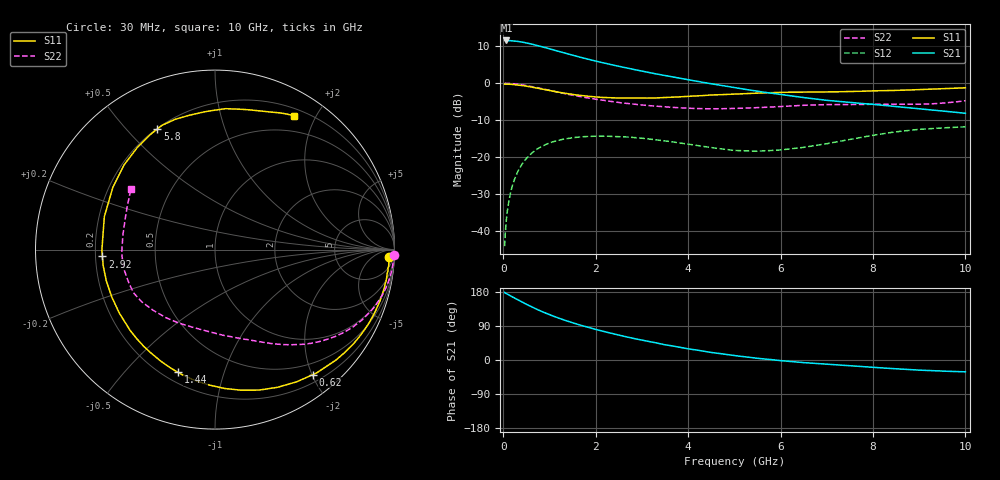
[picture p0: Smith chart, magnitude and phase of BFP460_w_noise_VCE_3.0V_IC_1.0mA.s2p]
! (c) 2016  Infineon Technologies AG, Munich
! Infineon Technologies  Discrete & RF Semiconductors
! BFP460
! VCE =  3.0 V,  IC =  1.0 mA
! Common Emitter S-Parameters:  Jan 2016
# GHz  S  MA  R  50
!  f  S11  S21  S12  S22
! GHz  MAG  ANG  MAG  ANG  MAG  ANG  MAG  ANG
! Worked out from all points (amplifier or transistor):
!   229 points, 30 MHz to 10 GHz, reference 50 ohm
!   highest |S21| = 11.6 dB at 70 MHz (marker M1)
!   |S21| within 3 dB of that: start of sweep to 1.211 GHz
!   unconditionally stable (mu >= 1): 3.58 GHz to end of sweep
!   at 280 MHz: K = 0.08, MSG = 18.2 dB, |S12| = -24.9 dB
!   at 1.78 GHz: K = 0.48, MSG = 10.6 dB, |S12| = -14.5 dB
!   at 10 GHz: K = 1.19, MAG = -0.8 dB, |S12| = -11.8 dB
!   lowest NFmin = 0.69 dB at 450 MHz
!   S11 on the Smith chart (normalised r, x): 30 MHz: 21, -31; 620 MHz: 0.31, -2.01; 1.44 GHz: 0.26, -0.71; 2.92 GHz: 0.23, -0.03; 5.8 GHz: 0.20, +0.61; 10 GHz: 0.29, +1.71
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0.03  0.9707 -2.5  3.783 178.2  0.0062 87.8  0.9983 -1.6
0.045  0.971 -3.8  3.763 176.7  0.0094 87.1  0.9975 -2.1
0.07  0.9688 -6.3  3.793 174.8  0.0146 85.9  0.997 -3.2
0.145  0.9673 -12.7  3.772 170.1  0.0299 81.5  0.9917 -6.7
0.26  0.9549 -22.6  3.721 162.5  0.0528 75.1  0.9783 -11.9
0.44  0.9241 -37.7  3.574 150.8  0.0856 65.4  0.9444 -19.6
0.62  0.8842 -52.0  3.381 139.9  0.1132 56.4  0.901 -26.5
0.8  0.8429 -65.5  3.165 129.7  0.1358 48.3  0.853 -32.8
1  0.7967 -79.5  2.929 119.7  0.155 40.4  0.7998 -38.7
1.2  0.7554 -92.4  2.697 110.5  0.1691 33.4  0.7514 -43.9
1.44  0.7141 -106.7  2.45 100.6  0.1803 26.2  0.6994 -49.2
1.7  0.6796 -121.1  2.219 90.9  0.1879 19.4  0.6526 -54.2
2.22  0.6385 -147.1  1.852 73.9  0.1917 8.5  0.5794 -62.9
2.6  0.6301 -163.9  1.644 62.8  0.1882 2.1  0.5385 -69.1
2.92  0.6287 -176.5  1.494 54.4  0.1819 -2.4  0.5127 -74.6
3.4  0.6363 166.7  1.304 42.9  0.1686 -7.2  0.4836 -83.0
4  0.6663 148.7  1.116 29.5  0.1494 -10.3  0.4582 -94.4
5.1  0.7174 125.8  0.852 10.2  0.1221 -3.1  0.4573 -118.0
5.8  0.7445 115.6  0.732 1.0  0.1226 6.5  0.4754 -131.9
6.8  0.7597 103.3  0.607 -9.3  0.1448 16.8  0.5078 -149.0
8.4  0.7961 79.0  0.49 -22.5  0.2152 15.4  0.5192 -175.4
10  0.866 59.6  0.391 -31.2  0.2563 3.5  0.5783 144.1
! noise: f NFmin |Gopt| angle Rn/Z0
0.45  0.69  0.73  19  0.45
0.9  0.78  0.68  41  0.42
1.9  1.48  0.47  96  0.28
3.5  2.5  0.41  -173  0.14
